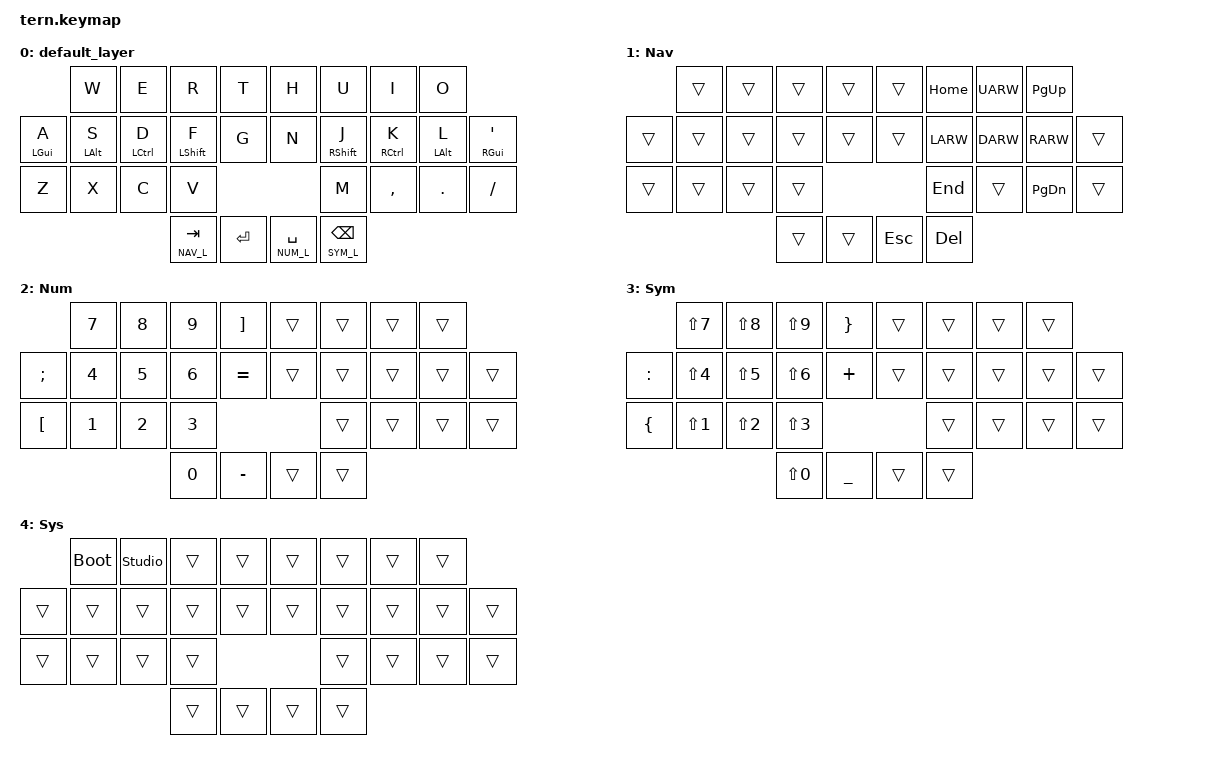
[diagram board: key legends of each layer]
/*
 * Copyright (c) 2022 The ZMK Contributors
 *
 * SPDX-License-Identifier: MIT
 */

#include <behaviors.dtsi>
#include <dt-bindings/zmk/keys.h>

#define DEF_L 0
#define NAV_L 1
#define NUM_L 2
#define SYM_L 3
#define SYS_L 4

// Using layer taps on thumbs, having quick tap as well helps w/ repeating space/backspace
&lt { quick_tap_ms = <200>; };

/ {
    behaviors {
        hm: homerow_mods {
            compatible = "zmk,behavior-hold-tap";
            #binding-cells = <2>;
            tapping_term_ms = <225>;
            flavor = "tap-preferred";
            bindings = <&kp>, <&kp>;
        };
    };

    combos {
        compatible = "zmk,combos";

        // Activate system layer on inner thumbs
        combo_sys_l { 
            key-positions = <27 28>;
            bindings = <&mo SYS_L>;
            require-prior-idle-ms = <200>;
        };

        combo_q {
            timeout-ms = <50>;
            key-positions = <0 1>;
            bindings = <&kp Q>;
        };

        combo_p {
            timeout-ms = <50>;
            key-positions = <6 7>;
            bindings = <&kp P>;
        };

        combo_b {
            timeout-ms = <50>;
            key-positions = <21 22>;
            bindings = <&kp B>;
        };

        combo_y {
            timeout-ms = <50>;
            key-positions = <23 24>;
            bindings = <&kp Y>;
        };
    };

    keymap {
        compatible = "zmk,keymap";

        default_layer {
            bindings = <
                           &kp W      &kp E       &kp R           &kp T        &kp H            &kp U          &kp I       &kp O
                &hm LGUI A &hm LALT S &hm LCTRL D &hm LSHFT F     &kp G        &kp N            &hm RSHFT J    &hm RCTRL K &hm LALT L &hm RGUI QUOT
                &kp Z      &kp X      &kp C       &kp V                                         &kp M          &kp COMMA  &kp DOT     &kp SLASH
                                                  &lt NAV_L TAB  &kp RET       &lt NUM_L SPACE  &lt SYM_L BKSP
            >;
        };

        nav_layer {
            display-name = "Nav";
            bindings = <
                           &trans     &trans      &trans          &trans       &trans           &kp HOME       &kp UARW &kp PG_UP
                &trans     &trans     &trans      &trans          &trans       &trans           &kp LARW       &kp DARW &kp RARW   &trans
                &trans     &trans     &trans      &trans                                        &kp END        &trans   &kp PG_DN  &trans
                                                  &trans          &trans       &kp ESC          &kp DEL
            >;
        };

        num_layer {
            display-name = "Num";
            bindings = <
                           &kp N7     &kp N8      &kp N9          &kp RBKT      &trans          &trans         &trans      &trans
                &kp SEMI   &kp N4     &kp N5      &kp N6          &kp EQUAL     &trans          &trans         &trans      &trans     &trans
                &kp LBKT   &kp N1     &kp N2      &kp N3                                        &trans         &trans      &trans     &trans
                                                  &kp N0          &kp MINUS     &trans          &trans
            >;
        };

        sym_layer {
            display-name = "Sym";
            bindings = <
                           &kp LS(N7) &kp LS(N8)  &kp LS(N9)      &kp RBRC      &trans          &trans         &trans      &trans
                &kp COLON  &kp LS(N4) &kp LS(N5)  &kp LS(N6)      &kp PLUS      &trans          &trans         &trans      &trans     &trans
                &kp LBRC   &kp LS(N1) &kp LS(N2)  &kp LS(N3)                                    &trans         &trans      &trans     &trans
                                                  &kp LS(N0)      &kp UNDER     &trans          &trans
            >;
        };

        sys_layer {
            display-name = "Sys";
            bindings = <
                           &bootloader &studio_unlock &trans      &trans       &trans           &trans         &trans   &trans
                &trans     &trans     &trans      &trans          &trans       &trans           &trans         &trans   &trans     &trans
                &trans     &trans     &trans      &trans                                        &trans         &trans   &trans     &trans
                                                  &trans          &trans       &trans           &trans
            >;
        };
    };
};
